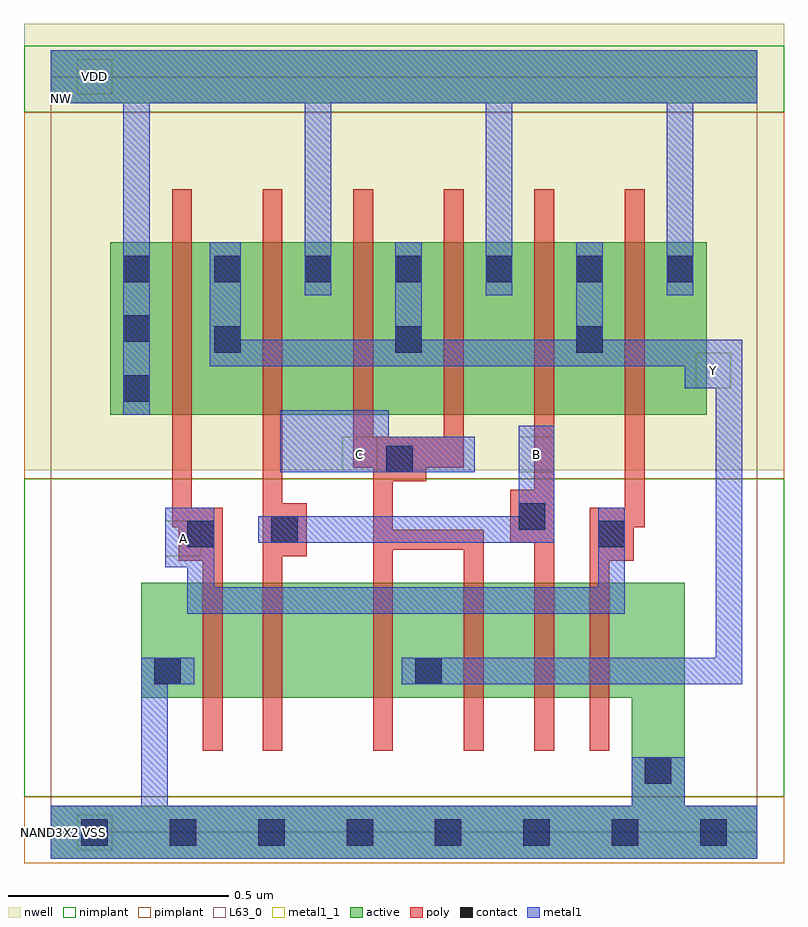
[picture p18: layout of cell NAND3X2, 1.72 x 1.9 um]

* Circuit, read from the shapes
.subckt NAND3X2 A B C NW VDD VSS Y
M1 n1 A VSS VSS nfet w=0.26u l=0.045u
M2 n2 B n1 VSS nfet w=0.26u l=0.045u
M3 Y C n2 VSS nfet w=0.26u l=0.045u
M4 n3 C Y VSS nfet w=0.26u l=0.045u
M5 n4 B n3 VSS nfet w=0.26u l=0.045u
M6 VSS A n4 VSS nfet w=0.26u l=0.045u
M7 Y A VDD NW pfet w=0.39u l=0.045u m=2
M8 VDD B Y NW pfet w=0.39u l=0.045u m=2
M9 Y C VDD NW pfet w=0.39u l=0.045u m=2
.ends

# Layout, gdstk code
import gdstk
lib = gdstk.Library(unit=1e-6, precision=5e-10)
def R(c, l, rs):  # rectangles x0, y0, x1, y1
    for r in rs: c.add(gdstk.rectangle(r[:2], r[2:], *l))
def A(c, l, x, y, w, h, nx, ny, dx, dy):  # array of equal rectangles
    R(c, l, [(x+i*dx, y+j*dy, x+i*dx+w, y+j*dy+h) for i in range(nx) for j in range(ny)])
def P(c, l, *ps):  # polygons
    for p in ps: c.add(gdstk.Polygon(p, *l))
active = (1, 0)
nwell = (2, 0)
poly = (3, 0)
nimplant = (4, 0)
pimplant = (5, 0)
contact = (6, 0)
metal1 = (7, 0)
metal1_1 = (7, 1)
L63_0 = (63, 0)

nand3x2 = lib.new_cell('NAND3X2')
R(nand3x2, active, [(0,-0.06,1.6,0.06), (0.135,0.945,1.485,1.335), (0,1.65,1.6,1.77)])
P(nand3x2, active, [(1.435,0.565),(0.205,0.565),(0.205,0.305),(1.315,0.305),(1.315,0.06),(1.435,0.06)])
R(nand3x2, nwell, [(-0.06,0.82,1.66,1.83), (0,1.61,0.05,1.71)])
P(nand3x2, poly, [(0.275,1.455),(0.32,1.455),(0.32,0.735),(0.39,0.735),(0.39,0.185),(0.345,0.185),(0.345,0.615),(0.29,0.615),(0.29,0.69),(0.275,0.69)],
  [(0.48,1.455),(0.525,1.455),(0.525,0.745),(0.58,0.745),(0.58,0.625),(0.525,0.625),(0.525,0.185),(0.48,0.185)],
  [(0.685,1.455),(0.73,1.455),(0.73,0.895),(0.89,0.895),(0.89,1.455),(0.935,1.455),(0.935,0.825),(0.85,0.825),(0.85,0.795),(0.775,0.795),(0.775,0.685),(0.98,0.685),(0.98,0.185),(0.935,0.185),(0.935,0.64),(0.775,0.64),(0.775,0.185),(0.73,0.185),(0.73,0.825),(0.685,0.825)],
  [(1.095,1.455),(1.14,1.455),(1.14,0.185),(1.095,0.185),(1.095,0.655),(1.04,0.655),(1.04,0.775),(1.095,0.775)],
  [(1.3,1.455),(1.345,1.455),(1.345,0.69),(1.32,0.69),(1.32,0.615),(1.265,0.615),(1.265,0.185),(1.22,0.185),(1.22,0.735),(1.3,0.735)])
R(nand3x2, nimplant, [(-0.06,0.08,1.66,0.8), (-0.06,1.63,1.66,1.78)])
R(nand3x2, pimplant, [(-0.06,-0.07,1.66,0.08), (-0.06,0.8,1.66,1.63)])
A(nand3x2, contact, 0.07, -0.03, 0.06, 0.06, 8, 1, 0.2, 0)
A(nand3x2, contact, 0.37, 1.085, 0.06, 0.06, 3, 1, 0.41, 0)
A(nand3x2, contact, 0.165, 1.245, 0.06, 0.06, 7, 1, 0.205, 0)
R(nand3x2, contact, [(1.345,0.11,1.405,0.17), (0.235,0.335,0.295,0.395), (0.825,0.335,0.885,0.395), (0.31,0.645,0.37,0.705), (1.24,0.645,1.3,0.705), (0.5,0.655,0.56,0.715), (1.06,0.685,1.12,0.745), (0.76,0.815,0.82,0.875), (0.165,0.975,0.225,1.035), (0.165,1.11,0.225,1.17)])
A(nand3x2, metal1, 0.575, 1.215, 0.06, 0.435, 3, 1, 0.41, 0)
R(nand3x2, metal1, [(1.315,0.06,1.435,0.17), (0.165,0.945,0.225,1.65)])
P(nand3x2, metal1, [(0.325,0.395),(0.205,0.395),(0.205,0.06),(0.265,0.06),(0.265,0.335),(0.325,0.335)],
  [(0.36,1.335),(0.43,1.335),(0.43,1.115),(0.78,1.115),(0.78,1.335),(0.84,1.335),(0.84,1.115),(1.19,1.115),(1.19,1.335),(1.25,1.335),(1.25,1.115),(1.565,1.115),(1.565,0.335),(0.795,0.335),(0.795,0.395),(1.505,0.395),(1.505,1.005),(1.435,1.005),(1.435,1.055),(0.36,1.055)],
  [(0.52,0.955),(0.765,0.955),(0.765,0.895),(0.96,0.895),(0.96,0.815),(0.52,0.815)],
  [(1.06,0.92),(1.14,0.92),(1.14,0.655),(0.47,0.655),(0.47,0.715),(1.06,0.715)],
  [(0.26,0.735),(0.37,0.735),(0.37,0.555),(1.24,0.555),(1.24,0.735),(1.3,0.735),(1.3,0.495),(0.31,0.495),(0.31,0.6),(0.26,0.6)])
R(nand3x2, metal1_1, [(0.06,-0.04,0.14,0.04), (0.26,0.625,0.34,0.705), (0.66,0.815,0.74,0.895), (1.06,0.815,1.14,0.895), (1.46,1.005,1.54,1.085), (0.06,1.67,0.14,1.75)])
R(nand3x2, L63_0, [(0,0,1.6,1.71)])
nand3x2.add(gdstk.FlexPath([(0,0),(1.6,0)], 0.12, ends="flush", simple_path=True, layer=7, datatype=0))  # metal1
nand3x2.add(gdstk.FlexPath([(0,1.71),(1.6,1.71)], 0.12, ends="flush", simple_path=True, layer=7, datatype=0))  # metal1
nand3x2.add(gdstk.Label('Y', (1.5,1.045), layer=7, texttype=1))
nand3x2.add(gdstk.Label('C', (0.7,0.855), layer=7, texttype=1))
nand3x2.add(gdstk.Label('B', (1.1,0.855), layer=7, texttype=1))
nand3x2.add(gdstk.Label('A', (0.3,0.665), layer=7, texttype=1))
nand3x2.add(gdstk.Label('VDD', (0.1,1.71), layer=7, texttype=1))
nand3x2.add(gdstk.Label('VSS', (0.1,0), layer=7, texttype=1))
nand3x2.add(gdstk.Label('VSS', (0.1,0), layer=7, texttype=1))
nand3x2.add(gdstk.Label('VDD', (0.1,1.71), layer=7, texttype=1))
nand3x2.add(gdstk.Label('A', (0.3,0.665), layer=7, texttype=1))
nand3x2.add(gdstk.Label('B', (1.1,0.855), layer=7, texttype=1))
nand3x2.add(gdstk.Label('C', (0.7,0.855), layer=7, texttype=1))
nand3x2.add(gdstk.Label('Y', (1.5,1.045), layer=7, texttype=1))
nand3x2.add(gdstk.Label('NAND3X2', (0,0), layer=63, texttype=0))
nand3x2.add(gdstk.Label('NW', (0.025,1.66), layer=2, texttype=0))
nand3x2.add(gdstk.Label('NW', (0.025,1.63), layer=2, texttype=0))

lib.write_gds('NAND3X2.gds')
